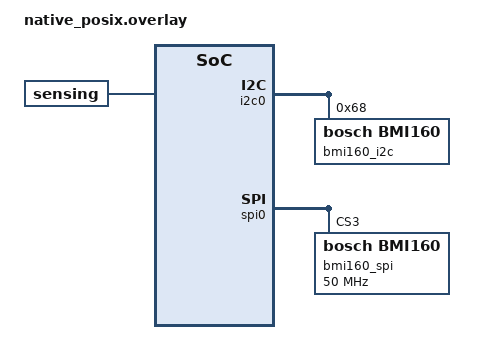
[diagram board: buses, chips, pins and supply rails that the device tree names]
/*
 * Copyright (c) 2023 Intel Corporation
 *
 * SPDX-License-Identifier: Apache-2.0
 */

&i2c0 {
	bmi160_i2c: bmi@68 {
		compatible = "bosch,bmi160";
		reg = <0x68>;
	};
};

&spi0 {
	bmi160_spi: bmi@3 {
		compatible = "bosch,bmi160";
		spi-max-frequency = <50000000>;
		reg = <0x3>;
	};
};

/ {
	sensing: sensing-node {
		compatible = "zephyr,sensing";
		status = "okay";

		base_accel: base-accel {
			compatible = "zephyr,sensing-phy-3d-sensor";
			status = "okay";
			sensor-type = <0x73>;
			friendly-name = "Base Accelerometer Sensor";
			minimal-interval = <625>;
			underlying-device = <&bmi160_i2c>;
		};

		lid_accel: lid-accel {
			compatible = "zephyr,sensing-phy-3d-sensor";
			status = "okay";
			sensor-type = <0x73>;
			friendly-name = "Lid Accelerometer Sensor";
			minimal-interval = <625>;
			underlying-device = <&bmi160_spi>;
		};
	};
};
